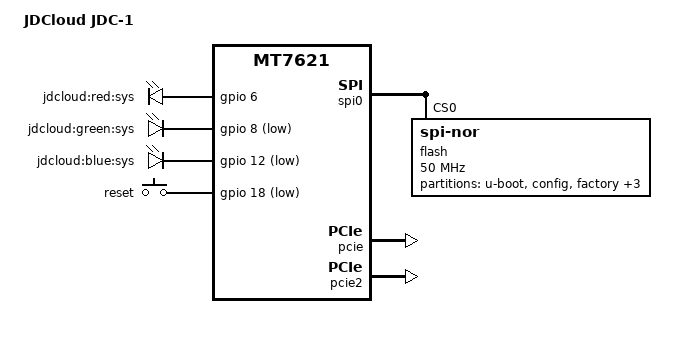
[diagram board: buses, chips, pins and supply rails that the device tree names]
#include "mt7621.dtsi"

#include <dt-bindings/gpio/gpio.h>
#include <dt-bindings/input/input.h>

/ {
        compatible = "jdcloud,jdc-1", "mediatek,mt7621-soc";
        model = "JDCloud JDC-1";

        aliases {
                led-boot = &led_blue;
                led-failsafe = &led_blue;
                led-running = &led_blue;
                led-upgrade = &led_blue;
        };
        
        chosen {
                bootargs = "console=ttyS0,115200";
        };

        leds {
                compatible = "gpio-leds";

                red {
                        label = "jdcloud:red:sys";
                        gpios = <&gpio 6 GPIO_ACTIVE_HIGH>;
                };

                green {
                        label = "jdcloud:green:sys";
                        gpios = <&gpio 8 GPIO_ACTIVE_LOW>;
                };

                blue {
                        label = "jdcloud:blue:sys";
                        gpios = <&gpio 12 GPIO_ACTIVE_LOW>;
                };
        };

        keys {
                compatible = "gpio-keys";

                reset {
                        label = "reset";
                        gpios = <&gpio 18 GPIO_ACTIVE_LOW>;
                        linux,code = <KEY_RESTART>;
                };
        };
};

&spi0 {
        status = "okay";

        flash@0 {
                compatible = "jedec,spi-nor";
                reg = <0>;
                spi-max-frequency = <0x2faf080>;

                partitions {
                        compatible = "fixed-partitions";
                        #address-cells = <1>;
                        #size-cells = <1>;

                        partition@0 {
                                label = "u-boot";
                                reg = <0x0 0x30000>;
                                read-only;
                        };

                        partition@30000 {
                                label = "config";
                                reg = <0x30000 0x10000>;
                                read-only;
                        };

                        factory: partition@40000 {
                                label = "factory";
                                reg = <0x40000 0x10000>;
                                read-only;
                        };

                        partition@50000 {
                                compatible = "denx,uimage";
                                label = "firmware";
                                reg = <0x50000 0x1ab0000>;
                        };

                        partition@1b00000 {
                                label = "mini";
                                reg = <0x1b00000 0x400000>;
                                read-only;
                        };

                        partition@1f00000{
                                label = "oem";
                                reg = <0x1f00000 0x100000>;
                                read-only;
                        };
                };
        };
};

&pcie {
        status = "okay";
};

&pcie0 {
        mt76@0,0 {
                reg = <0x0000 0 0 0 0>;
                mtd-mac-address-ascii = <0x0d 0x4429>;
                mediatek,mtd-eeprom = <&factory 0x0000>;
                ieee80211-freq-limit = <2400000 2500000>;
        };
};

&pcie1 {
        mt76@0,0 {
                reg = <0x0000 0 0 0 0>;
                mtd-mac-address-ascii = <0x0d 0x4429>;
                mtd-mac-address-increment-byte = <0x03>;
                mtd-mac-address-increment = <0x80>;
                mediatek,mtd-eeprom = <&factory 0x8000>;
                ieee80211-freq-limit = <5000000 6000000>;
        };
};

&pcie2 {
        status = "okay";
};

&gmac0 {
        mtd-mac-address = <&config 0x4429>;
};

&switch0 {
        ports {
                port@1 {
                        status = "okay";
                        label = "lan2";
                };

                port@2 {
                        status = "okay";
                        label = "lan1";
                };

                port@4 {
                        status = "okay";
                        label = "wan";
                        mtd-mac-address = <&config 0x4429>;
                        mtd-mac-address-increment = <1>;
                };
        };
};

&state_default {
        gpio {
                groups = “jtag”, “uart2”, “uart3”;
                function = "gpio";
        };
};
